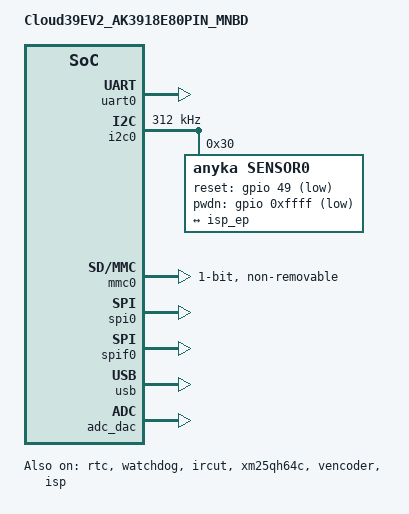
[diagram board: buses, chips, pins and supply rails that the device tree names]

/dts-v1/;
#include "anycloud_ak3918ev200.dtsi"
#include "anycloud_ak39ev330_norflash.dtsi"

/ {
	compatible = "anyka,ak3918ev200";
	model = "Cloud39EV2_AK3918E80PIN_MNBD";
	version = "V2.00";
};

&gpio {

	uart0_pins: uart0_pins {
		anyka,pins = <1 2>;
		anyka,function = <1>;
		anyka,pull = <0x00000010>;
	};

	i2c0_pins: i2c0_pins {
		anyka,pins = <27 28>;
		anyka,function = <1>;
		anyka,pull = <0x00000010>;
	};

	ircut_pins: ircut_pins {
		anyka,pins = <41 42>;
		anyka,function = <0>;
		anyka,pull = <0x00000010>;
	};

	gpiokey_pins: gpiokey_pins {
		anyka,pins = <47>;
		anyka,function = <0>;
		anyka,pull = <0x00000010>;
	};

	mci0_pins: mci0_pins {
		anyka,pins = <31 32 33>;
		anyka,function = <1>;
		anyka,pull = <0x00000010>;
	};

	spiflash_pins: spiflash_pins {
		anyka,pins = <25 26 35 36>;
		anyka,function = <1 1 2 2>;
		anyka,pull = <0x00000010>;
	};

	wifi_en_pins: wifi_en_pins {
		anyka,pins = <34>;
		anyka,function = <0>;
		anyka,pull = <0x00000010>;
	};

	motor0_pins: motor0_pins {
		anyka,pins = <19 20 10 11>;
		anyka,function = <0>;
		anyka,pull = <0x00000010>;
	};

	motor1_pins: motor1_pins {
		anyka,pins = <15 14 13 23>;
		anyka,function = <0>;
		anyka,pull = <0x00000010>;
	};

	speak_gpio_pins: speak_gpio_pins {
		anyka,pins = <7>;
		anyka,function = <0>;
		anyka,pull = <0x00000010>;
	};

	dvp0_8bits_pins: dvp0_8bits_pins {
		anyka,pins = <64 65 66 67 68 69 70 71 72 73 74 75>;
		anyka,function = <0>;
		anyka,pull = <0x00000001>;
	};
};

&rtc {
	osc-select = <1>;
	adjust-time = <120000>;
	status = "okay";
};

&watchdog {
	def_heartbeat = <10>;
	status = "okay";
};

&uart0 {
	pinctrl-names = "default";
	pinctrl-0 = <&uart0_pins>;
	status = "okay";
};

&i2c0 {
	pinctrl-names = "default";
	pinctrl-0 = <&i2c0_pins>;

	clock-frequency = <312000>;
	sda-delay = <100>;
	status = "okay";
	#address-cells = <1>;
	#size-cells = <0>;

	sensor0: camera@0x30 {
		compatible = "anyka,sensor0";
		reg = <0x30>;
		reset-gpio = <&gpio 49 1>;
		pwdn-gpio = <&gpio 0xffff 1>;
		status = "okay";

		port {
			sensor_ep: endpoint {
				remote-endpoint = <&isp_ep>;
			};
		};
	};
};

&ircut {
	pinctrl-names = "default";
	pinctrl-0 = <&ircut_pins>;

	ircut-a = "0";
	ircut-a-day-level = "0";
	status = "okay";
};

&gpiokeys {
	#address-cells = <1>;
	#size-cells = <0>;
	pinctrl-0 = <&gpiokey_pins>;
	pinctrl-names = "default";
	status = "okay";

	key_detect {
		label = "key_detect";
		gpios = <&gpio 47 1>;
		linux,code = <116>;
		debounce-interval = <100>;
		wakeup-source;
	};
};

&mmc0 {
	pinctrl-names = "default";
	pinctrl-0 = <&mci0_pins>;

	bus-width = <1>;
	max-frequency = <25000000>;
	non-removable;
	status = "okay";
};

/ {
	wifi_pwrseq: wifi_pwrseq {
		compatible = "anyka,sdio-wifi-pwrseq";
		pinctrl-names = "default";
		pinctrl-0 = <&wifi_en_pins>;

		enable-gpios = <&gpio 34 0>;
		power-on-delay-ms = <2000>;
		power-off-delay-ms = <200>;
		status = "disable";
	};
};

&spi0 {
	pinctrl-names = "default";
	pinctrl-0 = <&spiflash_pins>;
	status = "okay";
};

&spif0 {
	spi-max-frequency = <20000000>;
	spi-tx-bus-width = <4>;
	spi-rx-bus-width = <4>;
	status = "okay";
};

&xm25qh64c {
	status = "okay";
};

&motor0 {
	pinctrl-names = "default";
	pinctrl-0 = <&motor0_pins>;
	phase-gpios = <&gpio 19 0>, <&gpio 20 0>, <&gpio 10 0>, <&gpio 11 0>;
	angular-speed = <200>;
	status = "disable";
};

&motor1 {
	pinctrl-names = "default";
	pinctrl-0 = <&motor1_pins>;
	phase-gpios = <&gpio 15 0>, <&gpio 14 0>, <&gpio 13 0>, <&gpio 23 0>;
	angular-speed = <100>;
	status = "disable";
};

&vencoder {
	status = "okay";
};

&usb {
	status = "okay";
};

&isp {
	pinctrl-names = "default";
	pinctrl-0 = <&dvp0_8bits_pins>;

	clocks = <&gclk_asic 18>, <&gclk_asic 20>;
	clock-names = "camera", "sensor";
	mclk-mhz = <27>;
	status = "okay";

	port {
		isp_ep: endpoint {
			remote-endpoint = <&sensor_ep>;
		};
	};
};

&adc_dac {
	pinctrl-names = "default";
	pinctrl-0 = <&speak_gpio_pins>;

	speak-gpios = <&gpio 7 1>;
	speak-gpios-en = <1>;
	anyka,playback-mode = <1>;
	status = "okay";
};
